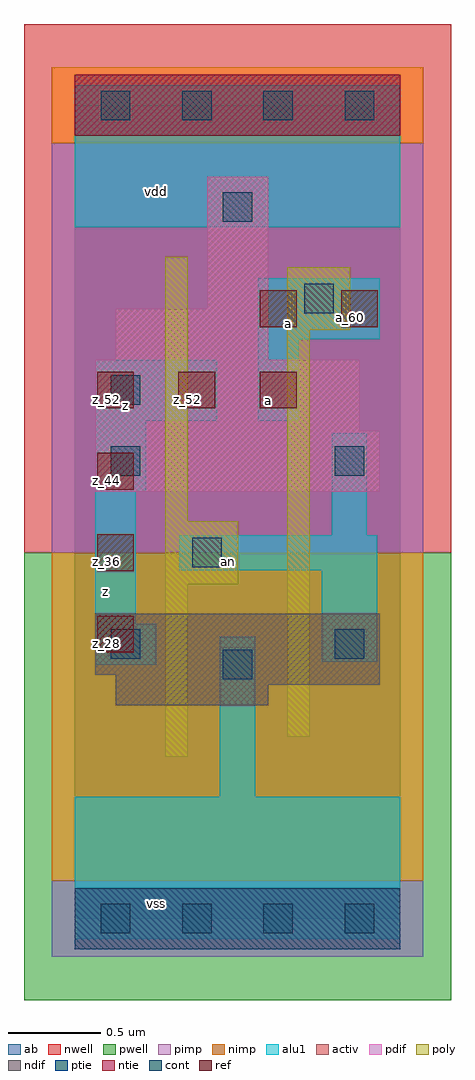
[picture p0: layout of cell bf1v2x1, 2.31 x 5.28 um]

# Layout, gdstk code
import gdstk
lib = gdstk.Library(unit=1e-6, precision=2.5e-09)
def R(c, l, rs):  # rectangles x0, y0, x1, y1
    for r in rs: c.add(gdstk.rectangle(r[:2], r[2:], *l))
def A(c, l, x, y, w, h, nx, ny, dx, dy):  # array of equal rectangles
    R(c, l, [(x+i*dx, y+j*dy, x+i*dx+w, y+j*dy+h) for i in range(nx) for j in range(ny)])
ndif = (3, 0)
pdif = (4, 0)
ntie = (5, 0)
ptie = (6, 0)
ref = (24, 0)
cont = (25, 0)
pwell = (41, 0)
nwell = (42, 0)
activ = (43, 0)
pimp = (44, 0)
nimp = (45, 0)
poly = (46, 0)
alu1 = (49, 0)
ab = (63, 0)

bf1v2x1 = lib.new_cell('bf1v2x1')
R(bf1v2x1, ndif, [(0.22,1.155,1.045,1.265), (0.22,1.265,1.65,1.32), (0.11,1.32,1.65,1.65)])
R(bf1v2x1, pdif, [(0.11,2.31,1.65,2.64), (0.11,2.64,1.54,3.025), (0.22,3.025,1.045,3.3), (0.715,3.3,1.045,4.015)])
R(bf1v2x1, ntie, [(0,4.235,1.76,4.565)])
R(bf1v2x1, ptie, [(0,-0.165,1.76,0.165)])
A(bf1v2x1, ref, 0.12, 1.44, 0.2, 0.2, 1, 3, 0, 0.44)
A(bf1v2x1, ref, 0.12, 2.76, 0.2, 0.2, 3, 1, 0.44, 0)
R(bf1v2x1, ref, [(1,3.2,1.2,3.4), (1.44,3.2,1.64,3.4)])
A(bf1v2x1, cont, 0.14, -0.08, 0.16, 0.16, 4, 2, 0.44, 4.4)
R(bf1v2x1, cont, [(0.8,1.295,0.96,1.455), (0.195,1.405,0.355,1.565), (1.405,1.405,1.565,1.565), (0.635,1.9,0.795,2.06), (0.195,2.395,0.355,2.555), (1.405,2.395,1.565,2.555), (0.195,2.78,0.355,2.94), (1.24,3.275,1.4,3.435), (0.8,3.77,0.96,3.93)])
R(bf1v2x1, pwell, [(-0.275,-0.44,2.035,1.98)])
R(bf1v2x1, nwell, [(-0.275,1.98,2.035,4.84)])
R(bf1v2x1, activ, [(0,-0.165,1.76,0.165), (0.22,1.155,1.045,1.265), (0.22,1.265,1.65,1.32), (0.11,1.32,1.65,1.65), (0.11,2.31,1.65,2.64), (0.11,2.64,1.54,3.025), (0.22,3.025,1.045,3.3), (0.715,3.3,1.045,4.015), (0,4.235,1.76,4.565)])
R(bf1v2x1, pimp, [(-0.125,-0.205,1.885,0.205), (-0.125,1.98,1.885,4.195)])
R(bf1v2x1, nimp, [(-0.125,0.205,1.885,1.98), (-0.125,4.195,1.885,4.605)])
R(bf1v2x1, poly, [(0.49,0.875,0.61,1.81), (1.15,0.985,1.27,3.185), (0.49,1.81,0.885,2.15), (0.49,2.15,0.61,3.58), (1.15,3.185,1.49,3.525)])
R(bf1v2x1, alu1, [(0,-0.11,1.76,0.66), (0.785,0.66,0.975,1.525), (0.11,1.375,0.44,1.595), (1.335,1.39,1.635,1.885), (0.11,1.595,0.33,2.31), (0.565,1.885,1.635,2.075), (1.39,2.075,1.58,2.625), (0.11,2.31,0.385,2.695), (0.11,2.695,0.77,3.025), (0.99,2.695,1.21,3.135), (0.99,3.135,1.65,3.465), (0,3.74,1.76,4.51)])
R(bf1v2x1, ab, [(0,0,1.76,4.4)])
bf1v2x1.add(gdstk.Label('vss', (0.44,0.0825), layer=49, texttype=0))
bf1v2x1.add(gdstk.Label('an', (0.8325,1.9325), layer=49, texttype=0))
bf1v2x1.add(gdstk.Label('z', (0.165,1.7725), layer=49, texttype=0))
bf1v2x1.add(gdstk.Label('a', (1.045,2.805), layer=49, texttype=0))
bf1v2x1.add(gdstk.Label('z', (0.275,2.7775), layer=49, texttype=0))
bf1v2x1.add(gdstk.Label('a', (1.155,3.2175), layer=49, texttype=0))
bf1v2x1.add(gdstk.Label('vdd', (0.44,3.9325), layer=49, texttype=0))
bf1v2x1.add(gdstk.Label('z_52', (0.17,2.81), layer=24, texttype=0))
bf1v2x1.add(gdstk.Label('z_44', (0.17,2.37), layer=24, texttype=0))
bf1v2x1.add(gdstk.Label('z_36', (0.17,1.93), layer=24, texttype=0))
bf1v2x1.add(gdstk.Label('z_28', (0.17,1.49), layer=24, texttype=0))
bf1v2x1.add(gdstk.Label('a_60', (1.49,3.25), layer=24, texttype=0))
bf1v2x1.add(gdstk.Label('a_60', (1.05,3.25), layer=24, texttype=0))
bf1v2x1.add(gdstk.Label('a_52', (1.05,2.81), layer=24, texttype=0))
bf1v2x1.add(gdstk.Label('z_52', (0.61,2.81), layer=24, texttype=0))

lib.write_gds('bf1v2x1.gds')
